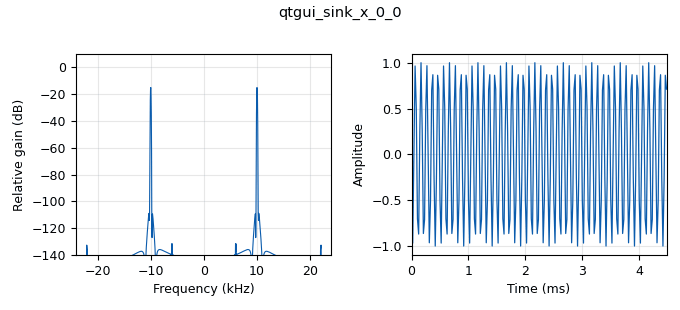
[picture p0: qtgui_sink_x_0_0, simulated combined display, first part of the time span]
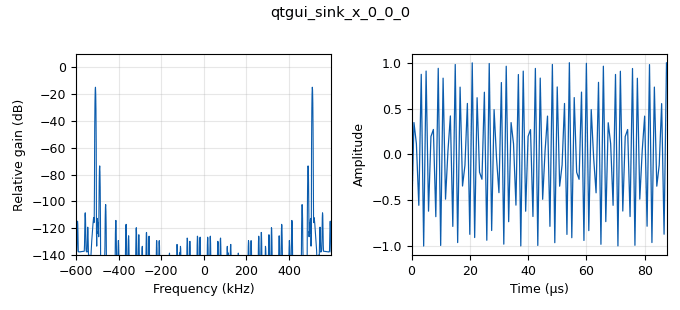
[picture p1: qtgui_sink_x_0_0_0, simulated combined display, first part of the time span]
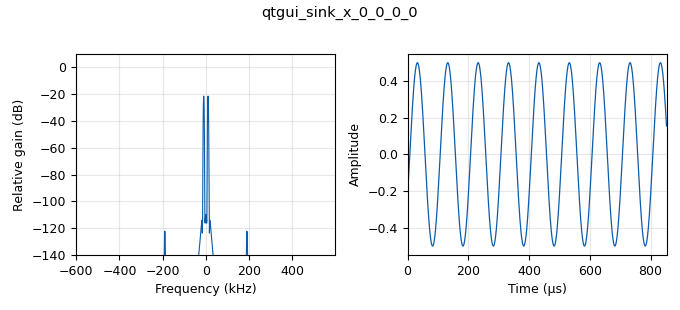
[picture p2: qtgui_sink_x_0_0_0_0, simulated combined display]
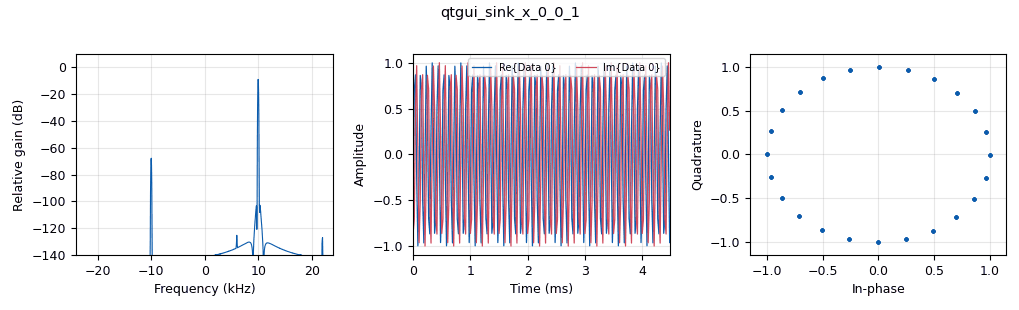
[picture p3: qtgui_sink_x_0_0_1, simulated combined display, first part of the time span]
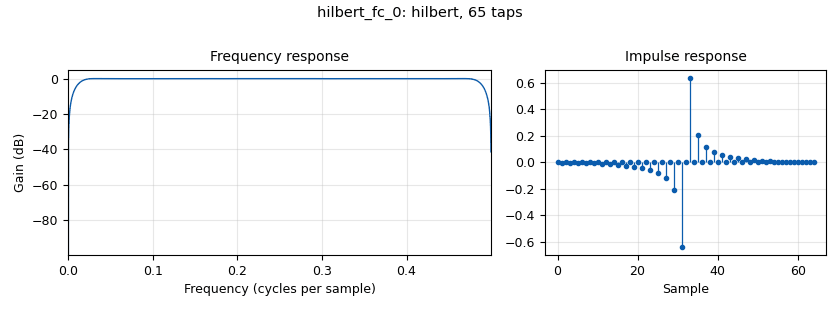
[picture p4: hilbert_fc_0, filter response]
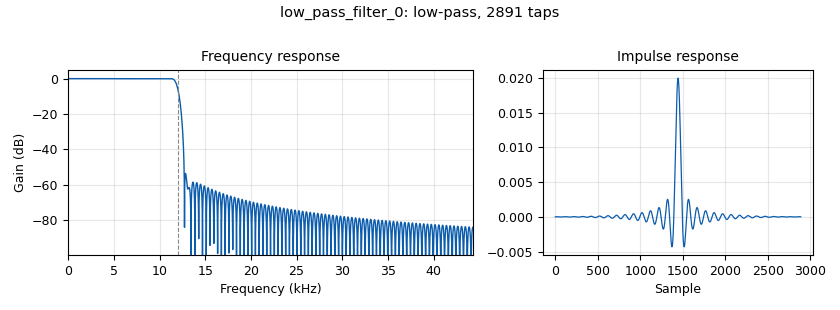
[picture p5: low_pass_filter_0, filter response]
options:
  parameters:
    author: prakhar
    generate_options: qt_gui
    id: part_2
    output_language: python
    title: Not titled yet
  states: {}

blocks:
- name: samp_rate
  id: variable
  parameters:
    value: '1200000'
  states: {}
- name: analog_sig_source_x_0
  id: analog_sig_source_x
  parameters:
    amp: '1'
    freq: '10000'
    offset: '0'
    phase: '0'
    samp_rate: '48000'
    type: float
    waveform: analog.GR_COS_WAVE
  states: {}
- name: analog_sig_source_x_0_0
  id: analog_sig_source_x
  parameters:
    amp: '1'
    freq: '500000'
    offset: '0'
    phase: '0'
    samp_rate: samp_rate
    type: complex
    waveform: analog.GR_COS_WAVE
  states: {}
- name: analog_sig_source_x_0_0_0
  id: analog_sig_source_x
  parameters:
    amp: '1'
    freq: '500000'
    offset: '0'
    phase: '0'
    samp_rate: samp_rate
    type: float
    waveform: analog.GR_COS_WAVE
  states: {}
- name: blocks_complex_to_real_0_0
  id: blocks_complex_to_real
  parameters: {}
  states: {}
- name: blocks_conjugate_cc_0
  id: blocks_conjugate_cc
  parameters: {}
  states: {state: bypassed}
- name: blocks_multiply_xx_0
  id: blocks_multiply_xx
  parameters:
    type: complex
  states: {}
- name: blocks_multiply_xx_1
  id: blocks_multiply_xx
  parameters:
    type: float
  states: {}
- name: blocks_throttle_0
  id: blocks_throttle
  parameters:
    samples_per_second: '48000'
    type: float
  states: {}
- name: hilbert_fc_0
  id: hilbert_fc
  parameters:
    num_taps: '65'
    win: firdes.WIN_HAMMING
  states: {}
- name: low_pass_filter_0
  id: low_pass_filter
  parameters:
    cutoff_freq: '12000'
    decim: '1'
    gain: '1'
    samp_rate: samp_rate
    type: fir_filter_fff
    width: '1000'
    win: firdes.WIN_HAMMING
  states: {}
- name: qtgui_sink_x_0_0
  id: qtgui_sink_x
  parameters:
    bw: '48000'
    fc: '0'
    fftsize: '1024'
    gui_hint: tab@2
    type: float
    wintype: firdes.WIN_BLACKMAN_hARRIS
  states: {}
- name: qtgui_sink_x_0_0_0
  id: qtgui_sink_x
  parameters:
    bw: samp_rate
    fc: '0'
    fftsize: '1024'
    gui_hint: tab@0
    type: float
    wintype: firdes.WIN_BLACKMAN_hARRIS
  states: {}
- name: qtgui_sink_x_0_0_0_0
  id: qtgui_sink_x
  parameters:
    bw: samp_rate
    fc: '0'
    fftsize: '1024'
    gui_hint: tab@1
    type: float
    wintype: firdes.WIN_BLACKMAN_hARRIS
  states: {}
- name: qtgui_sink_x_0_0_1
  id: qtgui_sink_x
  parameters:
    bw: '48000'
    fc: '0'
    fftsize: '1024'
    gui_hint: tab@3
    type: complex
    wintype: firdes.WIN_BLACKMAN_hARRIS
  states: {}
- name: rational_resampler_xxx_1
  id: rational_resampler_xxx
  parameters:
    decim: '1'
    interp: '25'
    taps: ''
    type: ccc
  states: {}
- name: tab
  id: qtgui_tab_widget
  parameters:
    label0: Modulated
    label1: Demodulated
    label2: Message
    label3: hilbert
    num_tabs: '4'
  states: {}

connections:
- [analog_sig_source_x_0, '0', blocks_throttle_0, '0']
- [analog_sig_source_x_0, '0', hilbert_fc_0, '0']
- [analog_sig_source_x_0_0, '0', blocks_multiply_xx_0, '1']
- [analog_sig_source_x_0_0_0, '0', blocks_multiply_xx_1, '1']
- [blocks_complex_to_real_0_0, '0', blocks_multiply_xx_1, '0']
- [blocks_complex_to_real_0_0, '0', qtgui_sink_x_0_0_0, '0']
- [blocks_conjugate_cc_0, '0', qtgui_sink_x_0_0_1, '0']
- [blocks_conjugate_cc_0, '0', rational_resampler_xxx_1, '0']
- [blocks_multiply_xx_0, '0', blocks_complex_to_real_0_0, '0']
- [blocks_multiply_xx_1, '0', low_pass_filter_0, '0']
- [blocks_throttle_0, '0', qtgui_sink_x_0_0, '0']
- [hilbert_fc_0, '0', blocks_conjugate_cc_0, '0']
- [low_pass_filter_0, '0', qtgui_sink_x_0_0_0_0, '0']
- [rational_resampler_xxx_1, '0', blocks_multiply_xx_0, '0']

metadata:
  file_format: 1
